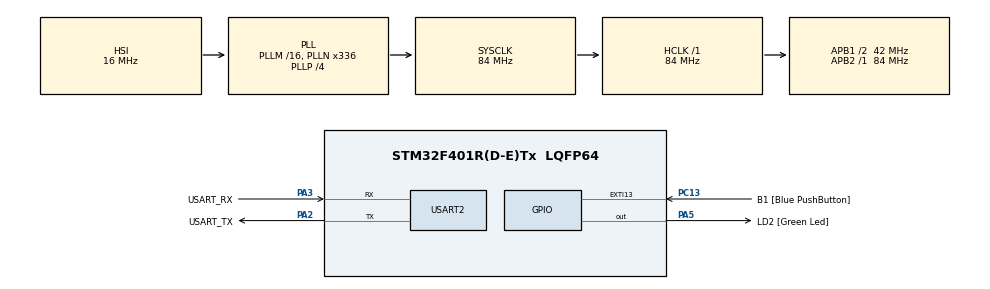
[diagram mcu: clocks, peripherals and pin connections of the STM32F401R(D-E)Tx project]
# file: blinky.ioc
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Mcu.Family=STM32F4
Mcu.Name=STM32F401R(D-E)Tx
Mcu.Package=LQFP64
NVIC.PriorityGroup=NVIC_PRIORITYGROUP_0
PA13.GPIO_Label=TMS
PA13.Mode=Serial_Wire
PA13.Signal=SYS_JTMS-SWDIO
PA14.GPIO_Label=TCK
PA14.Mode=Serial_Wire
PA14.Signal=SYS_JTCK-SWCLK
PA2.GPIO_Label=USART_TX
PA2.GPIO_Mode=GPIO_MODE_AF_PP
PA2.GPIO_PuPd=GPIO_NOPULL
PA2.GPIO_Speed=GPIO_SPEED_FREQ_LOW
PA2.Mode=Asynchronous
PA2.Signal=USART2_TX
PA3.GPIO_Label=USART_RX
PA3.GPIO_Mode=GPIO_MODE_AF_PP
PA3.GPIO_PuPd=GPIO_NOPULL
PA3.GPIO_Speed=GPIO_SPEED_FREQ_LOW
PA3.Mode=Asynchronous
PA3.Signal=USART2_RX
PA5.GPIO_Label=LD2 [Green Led]
PA5.GPIO_Mode=GPIO_MODE_OUTPUT_PP
PA5.GPIO_PuPd=GPIO_NOPULL
PA5.GPIO_Speed=GPIO_SPEED_FREQ_LOW
PA5.Signal=GPIO_Output
PB3.GPIO_Label=SWO
PB3.Signal=SYS_JTDO-SWO
PC13-ANTI_TAMP.GPIO_Label=B1 [Blue PushButton]
PC13-ANTI_TAMP.GPIO_ModeDefaultEXTI=GPIO_MODE_IT_FALLING
PC13-ANTI_TAMP.GPIO_PuPd=GPIO_NOPULL
PC13-ANTI_TAMP.Signal=GPXTI13
PC14-OSC32_IN.Mode=LSE-External-Oscillator
PC14-OSC32_IN.Signal=RCC_OSC32_IN
PC15-OSC32_OUT.Mode=LSE-External-Oscillator
PC15-OSC32_OUT.Signal=RCC_OSC32_OUT
PH0\ -\ OSC_IN.Mode=HSE-External-Clock-Source
PH0\ -\ OSC_IN.Signal=RCC_OSC_IN
PH1\ -\ OSC_OUT.Mode=HSE-External-Clock-Source
PH1\ -\ OSC_OUT.Signal=RCC_OSC_OUT
ProjectManager.HeapSize=0x200
ProjectManager.StackSize=0x400
ProjectManager.TargetToolchain=STM32CubeIDE
RCC.48MHZClocksFreq_Value=48000000
RCC.AHBFreq_Value=84000000
RCC.APB1CLKDivider=RCC_HCLK_DIV2
RCC.APB1Freq_Value=42000000
RCC.APB1TimFreq_Value=84000000
RCC.APB2Freq_Value=84000000
RCC.APB2TimFreq_Value=84000000
RCC.CortexFreq_Value=84000000
RCC.HCLKFreq_Value=84000000
RCC.HSE_VALUE=8000000
RCC.HSI_VALUE=16000000
RCC.PLLN=336
RCC.PLLP=RCC_PLLP_DIV4
RCC.PLLQ=7
RCC.SYSCLKFreq_VALUE=84000000
RCC.SYSCLKSource=RCC_SYSCLKSOURCE_PLLCLK
RCC.VCOOutputFreq_Value=336000000
USART2.VirtualMode=VM_ASYNC
board=NUCLEO-F401RE

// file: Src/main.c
/* USER CODE BEGIN Header */
/**
  ******************************************************************************
  * @file           : main.c
  * @brief          : Main program body
  ******************************************************************************
  * @attention
  *
  * <h2><center>&copy; Copyright (c) 2019 STMicroelectronics.
  * All rights reserved.</center></h2>
  *
  * This software component is licensed by ST under BSD 3-Clause license,
  * the "License"; You may not use this file except in compliance with the
  * License. You may obtain a copy of the License at:
  *                        opensource.org/licenses/BSD-3-Clause
  *
  ******************************************************************************
  */
/* USER CODE END Header */

#include "main.h"
#include "usart.h"
#include "gpio.h"

/* USER CODE BEGIN Includes */
#include "stdio.h"
/* USER CODE END Includes */

void SystemClock_Config(void);

/* USER CODE BEGIN 0 */
int _write(int file, char *ptr, int len){
	HAL_UART_Transmit(&huart2, (uint8_t *)ptr, len, 1000);
	return len;
}

/* USER CODE END 0 */

int main(void)
{

  /* MCU Configuration--------------------------------------------------------*/

  /* Reset of all peripherals, Initializes the Flash interface and the Systick. */
  HAL_Init();

  /* Configure the system clock */
  SystemClock_Config();

  /* Initialize all configured peripherals */
  MX_GPIO_Init();
  MX_USART2_UART_Init();
  /* USER CODE BEGIN 2 */
  printf("Hello World\r\n");
  int i = 0;
  while(i <= 10){
	  printf("count down: %d\r\n", i);
	  i++;
  }
  /* USER CODE END 2 */

  /* Infinite loop */
  while (1)
  {

    /* USER CODE BEGIN 3 */
	  HAL_GPIO_WritePin(LD2_GPIO_Port, LD2_Pin, GPIO_PIN_SET);
	  HAL_Delay(1000);
	  HAL_GPIO_WritePin(LD2_GPIO_Port, LD2_Pin, GPIO_PIN_RESET);
	  HAL_Delay(1000);
	  HAL_GPIO_WritePin(LD2_GPIO_Port, LD2_Pin, GPIO_PIN_SET);
	  HAL_Delay(1000);
	  HAL_GPIO_WritePin(LD2_GPIO_Port, LD2_Pin, GPIO_PIN_RESET);
	  HAL_Delay(1000);
	  HAL_GPIO_WritePin(LD2_GPIO_Port, LD2_Pin, GPIO_PIN_SET);
	  HAL_Delay(2000);
	  HAL_GPIO_WritePin(LD2_GPIO_Port, LD2_Pin, GPIO_PIN_RESET);
	  HAL_Delay(100);
	  HAL_GPIO_WritePin(LD2_GPIO_Port, LD2_Pin, GPIO_PIN_SET);
	  HAL_Delay(100);
	  HAL_GPIO_WritePin(LD2_GPIO_Port, LD2_Pin, GPIO_PIN_RESET);
	  HAL_Delay(100);
	  HAL_GPIO_WritePin(LD2_GPIO_Port, LD2_Pin, GPIO_PIN_SET);
	  HAL_Delay(100);
	  HAL_GPIO_WritePin(LD2_GPIO_Port, LD2_Pin, GPIO_PIN_RESET);
	  HAL_Delay(100);
	  HAL_GPIO_WritePin(LD2_GPIO_Port, LD2_Pin, GPIO_PIN_SET);
	  HAL_Delay(100);
	  HAL_GPIO_WritePin(LD2_GPIO_Port, LD2_Pin, GPIO_PIN_RESET);
	  HAL_Delay(100);
	  HAL_GPIO_WritePin(LD2_GPIO_Port, LD2_Pin, GPIO_PIN_SET);
	  HAL_Delay(100);
	  HAL_GPIO_WritePin(LD2_GPIO_Port, LD2_Pin, GPIO_PIN_RESET);
	  HAL_Delay(100);
	  HAL_GPIO_WritePin(LD2_GPIO_Port, LD2_Pin, GPIO_PIN_SET);
	  HAL_Delay(100);

  }
  /* USER CODE END 3 */
}

void SystemClock_Config(void)
{
  RCC_OscInitTypeDef RCC_OscInitStruct = {0};
  RCC_ClkInitTypeDef RCC_ClkInitStruct = {0};

  /** Configure the main internal regulator output voltage
  */
  __HAL_RCC_PWR_CLK_ENABLE();
  __HAL_PWR_VOLTAGESCALING_CONFIG(PWR_REGULATOR_VOLTAGE_SCALE2);
  /** Initializes the CPU, AHB and APB busses clocks
  */
  RCC_OscInitStruct.OscillatorType = RCC_OSCILLATORTYPE_HSI;
  RCC_OscInitStruct.HSIState = RCC_HSI_ON;
  RCC_OscInitStruct.HSICalibrationValue = RCC_HSICALIBRATION_DEFAULT;
  RCC_OscInitStruct.PLL.PLLState = RCC_PLL_ON;
  RCC_OscInitStruct.PLL.PLLSource = RCC_PLLSOURCE_HSI;
  RCC_OscInitStruct.PLL.PLLM = 16;
  RCC_OscInitStruct.PLL.PLLN = 336;
  RCC_OscInitStruct.PLL.PLLP = RCC_PLLP_DIV4;
  RCC_OscInitStruct.PLL.PLLQ = 7;
  if (HAL_RCC_OscConfig(&RCC_OscInitStruct) != HAL_OK)
  {
    Error_Handler();
  }
  /** Initializes the CPU, AHB and APB busses clocks
  */
  RCC_ClkInitStruct.ClockType = RCC_CLOCKTYPE_HCLK|RCC_CLOCKTYPE_SYSCLK
                              |RCC_CLOCKTYPE_PCLK1|RCC_CLOCKTYPE_PCLK2;
  RCC_ClkInitStruct.SYSCLKSource = RCC_SYSCLKSOURCE_PLLCLK;
  RCC_ClkInitStruct.AHBCLKDivider = RCC_SYSCLK_DIV1;
  RCC_ClkInitStruct.APB1CLKDivider = RCC_HCLK_DIV2;
  RCC_ClkInitStruct.APB2CLKDivider = RCC_HCLK_DIV1;

  if (HAL_RCC_ClockConfig(&RCC_ClkInitStruct, FLASH_LATENCY_2) != HAL_OK)
  {
    Error_Handler();
  }
}

void Error_Handler(void)
{
}

/************************ (C) COPYRIGHT STMicroelectronics *****END OF FILE****/
